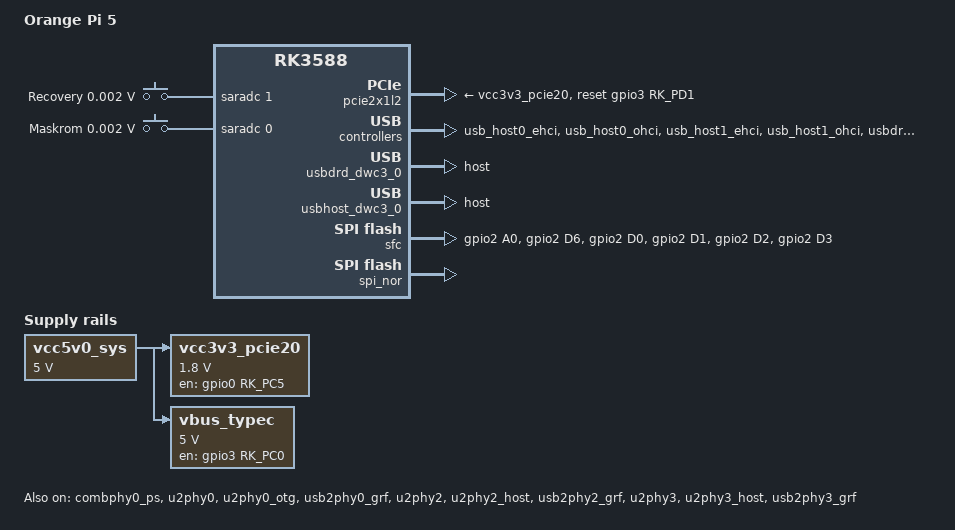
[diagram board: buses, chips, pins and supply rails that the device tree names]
// SPDX-License-Identifier: (GPL-2.0+ OR MIT)
/*
 * Copyright (c) 2021 Rockchip Electronics Co., Ltd
 *
 */

/dts-v1/;
#include "rk3588.dtsi"
#include "rk3588-u-boot.dtsi"
#include <dt-bindings/input/input.h>

/ {
	model = "Orange Pi 5";
	compatible = "rockchip,rk3588s-orangepi-5", "rockchip,rk3588";

	adc-keys {
		compatible = "adc-keys";
		io-channels = <&saradc 1>;
		io-channel-names = "buttons";
		keyup-threshold-microvolt = <1800000>;
		poll-interval = <100>;

		button-recovery {
			label = "Recovery";
			linux,code = <KEY_VENDOR>;
			press-threshold-microvolt = <1800>;
		};
	};

	adc-keys-1 {
		compatible = "adc-keys";
		io-channels = <&saradc 0>;
		io-channel-names = "buttons";
		keyup-threshold-microvolt = <1800000>;
		poll-interval = <100>;

		button-maskrom {
			label = "Maskrom";
			linux,code = <KEY_SETUP>;
			press-threshold-microvolt = <1800>;
		};
	};

	vcc5v0_sys: vcc5v0-sys {
		u-boot,dm-pre-reloc;
		compatible = "regulator-fixed";
		regulator-name = "vcc5v0_sys";
		regulator-always-on;
		regulator-boot-on;
		regulator-min-microvolt = <5000000>;
		regulator-max-microvolt = <5000000>;
	};

	vcc3v3_pcie20: vcc3v3-pcie20-regulator {
		u-boot,dm-pre-reloc;
		compatible = "regulator-fixed";
		enable-active-high;
		gpios = <&gpio0 RK_PC5 GPIO_ACTIVE_HIGH>;
		regulator-name = "vcc3v3_pcie20";
		regulator-boot-on;
		regulator-min-microvolt = <1800000>;
		regulator-max-microvolt = <1800000>;
		startup-delay-us = <50000>;
		vin-supply = <&vcc5v0_sys>;
	};

	vbus_typec: vbus-typec-regulator {
		u-boot,dm-pre-reloc;
		compatible = "regulator-fixed";
		enable-active-high;
		gpio = <&gpio3 RK_PC0 GPIO_ACTIVE_HIGH>;
		pinctrl-names = "default";
		pinctrl-0 = <&typec5v_pwren>;
		regulator-name = "vbus_typec";
		regulator-min-microvolt = <5000000>;
		regulator-max-microvolt = <5000000>;
		vin-supply = <&vcc5v0_sys>;
	};
};

&combphy0_ps {
	u-boot,dm-pre-reloc;
	status = "okay";
};

&pcie2x1l2 {
	u-boot,dm-pre-reloc;
	reset-gpios = <&gpio3 RK_PD1 GPIO_ACTIVE_HIGH>;
	vpcie3v3-supply = <&vcc3v3_pcie20>;
	status = "okay";
};

&u2phy0 {
	u-boot,dm-pre-reloc;
	status = "okay";
};

&u2phy0_otg {
	u-boot,dm-pre-reloc;
	status = "okay";
};

&usb2phy0_grf {
	u-boot,dm-pre-reloc;
	status = "okay";
};

&u2phy2 {
	u-boot,dm-pre-reloc;
	status = "okay";
};

&u2phy2_host {
	u-boot,dm-pre-reloc;
	status = "okay";
};

&usb2phy2_grf {
	u-boot,dm-pre-reloc;
	status = "okay";
};

&u2phy3 {
	u-boot,dm-pre-reloc;
	status = "okay";
};

&u2phy3_host {
	u-boot,dm-pre-reloc;
	status = "okay";
};

&usb2phy3_grf {
	u-boot,dm-pre-reloc;
	status = "okay";
};

&usb_host0_ehci {
	u-boot,dm-pre-reloc;
	status = "okay";
};

&usb_host0_ohci {
	u-boot,dm-pre-reloc;
	status = "okay";
};

&usb_host1_ehci {
	u-boot,dm-pre-reloc;
	status = "okay";
};

&usb_host1_ohci {
	u-boot,dm-pre-reloc;
	status = "okay";
};

&usbdrd3_0 {
	u-boot,dm-pre-reloc;
	status = "okay";
};

&usbdrd_dwc3_0 {
	u-boot,dm-pre-reloc;
	dr_mode = "host";
	status = "okay";
};

&usbhost3_0 {
	u-boot,dm-pre-reloc;
	status = "okay";
};

&usbhost_dwc3_0 {
	u-boot,dm-pre-reloc;
	dr_mode = "host";
	status = "okay";
};

&sfc {
	u-boot,dm-pre-reloc;
	pinctrl-names = "default";
	pinctrl-0 = <&fspim0_pins>;
	status = "okay";
};

&spi_nor {
	u-boot,dm-pre-reloc;
	status = "okay";
};

&pinctrl {
	/delete-node/ fspi;
	fspi {
		u-boot,dm-spl;
		fspim0_pins: fspim0-pins {
			u-boot,dm-spl;
			rockchip,pins =
				/* fspi_clk_m0 */
				<2 RK_PA0 2 &pcfg_pull_none>,
				/* fspi_cs0n_m0 */
				<2 RK_PD6 2 &pcfg_pull_none>,
				/* fspi_d0_m0 */
				<2 RK_PD0 2 &pcfg_pull_none>,
				/* fspi_d1_m0 */
				<2 RK_PD1 2 &pcfg_pull_none>,
				/* fspi_d2_m0 */
				<2 RK_PD2 2 &pcfg_pull_none>,
				/* fspi_d3_m0 */
				<2 RK_PD3 2 &pcfg_pull_none>;
		};
	};

	usb {
		u-boot,dm-pre-reloc;
		typec5v_pwren: typec5v-pwren {
			u-boot,dm-pre-reloc;
			rockchip,pins = <3 RK_PC0 RK_FUNC_GPIO &pcfg_pull_none>;
		};
	};
};
